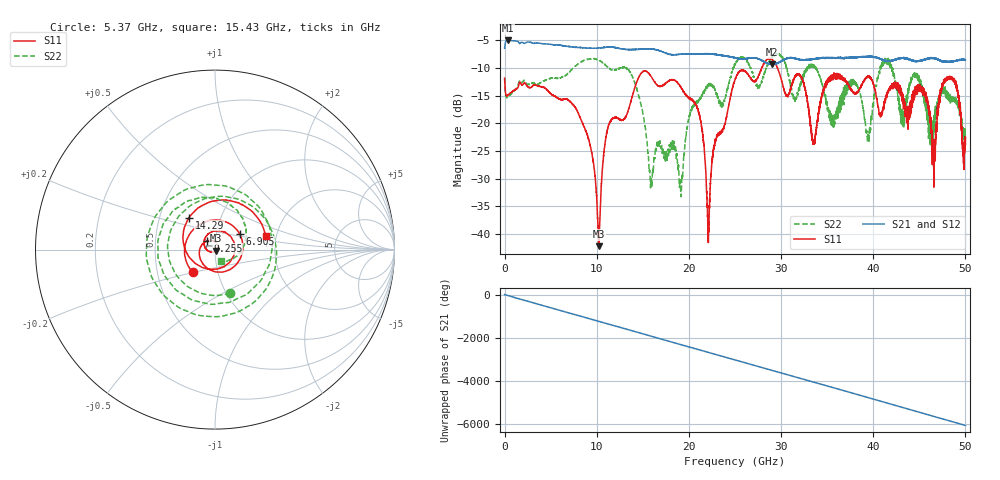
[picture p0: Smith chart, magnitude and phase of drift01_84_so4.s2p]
!Created with skrf (http://scikit-rf.org).
# Hz S RI R 50.0
!freq ReS11 ImS11 ReS21 ImS21 ReS12 ImS12 ReS22 ImS22
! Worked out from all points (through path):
!   10001 points, 300 kHz to 50 GHz, reference 50 ohm
!   highest |S21| = -5.05 dB at 345.3 MHz (marker M1); lowest = -9.4 dB at 29.04 GHz (marker M2)
!   group delay of S21, straight-line fit = 336 ps
!   lowest |S11| = -42.2 dB at 10.22 GHz (marker M3), VSWR 1.02, Z = 50.5 - j0.57 ohm
!   |S11| at or under -10 dB: start of sweep to 27.9 GHz; 29.6 GHz to end of sweep
!   |S22| runs from -33.3 to -7.5 dB; largest |S21 - S12| = 0.015
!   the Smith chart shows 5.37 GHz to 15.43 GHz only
!   S11 on the Smith chart (normalised r, x): 5.37 GHz: 0.76, -0.20; 6.905 GHz: 1.30, +0.23; 9.255 GHz: 0.92, +0.09; 14.29 GHz: 0.71, +0.27; 15.43 GHz: 1.76, +0.29
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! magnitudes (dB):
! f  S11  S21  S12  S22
! 300 kHz  -11.9  -6.5  -6.5  -11.9
! 345.3 MHz  -14.9  -5.1  -5.1  -15.3
! 5.37 GHz  -15.0  -5.8  -5.8  -11.8
! 6.905 GHz  -15.8  -6.1  -6.1  -11.0
! 8.335 GHz  -19.5  -6.3  -6.3  -8.9
! 9.255 GHz  -23.8  -6.4  -6.4  -8.3
! 10.22 GHz  -42.2  -6.4  -6.4  -8.6
! 11.23 GHz  -20.6  -6.2  -6.2  -9.9
! 14.29 GHz  -12.8  -6.7  -6.7  -13.5
! 15.43 GHz  -10.6  -6.6  -6.6  -22.8
! 16.67 GHz  -13.3  -6.8  -6.8  -23.3
! 19.14 GHz  -13.5  -7.5  -7.5  -33.1
! 20.85 GHz  -17.0  -7.5  -7.5  -16.0
! 22.12 GHz  -41.5  -7.5  -7.5  -13.3
! 25 GHz  -12.1  -8.2  -8.2  -9.3
! 29.04 GHz  -8.6  -9.4  -9.3  -8.0
! 33.34 GHz  -22.5  -8.5  -8.4  -9.5
! 39.46 GHz  -11.5  -7.9  -8.0  -21.8
! 41.67 GHz  -13.9  -8.7  -8.7  -9.5
! 46.54 GHz  -26.5  -8.2  -8.3  -22.1
! 48.56 GHz  -12.0  -8.8  -8.8  -16.1
! 50 GHz  -23.8  -8.6  -8.6  -22.9
